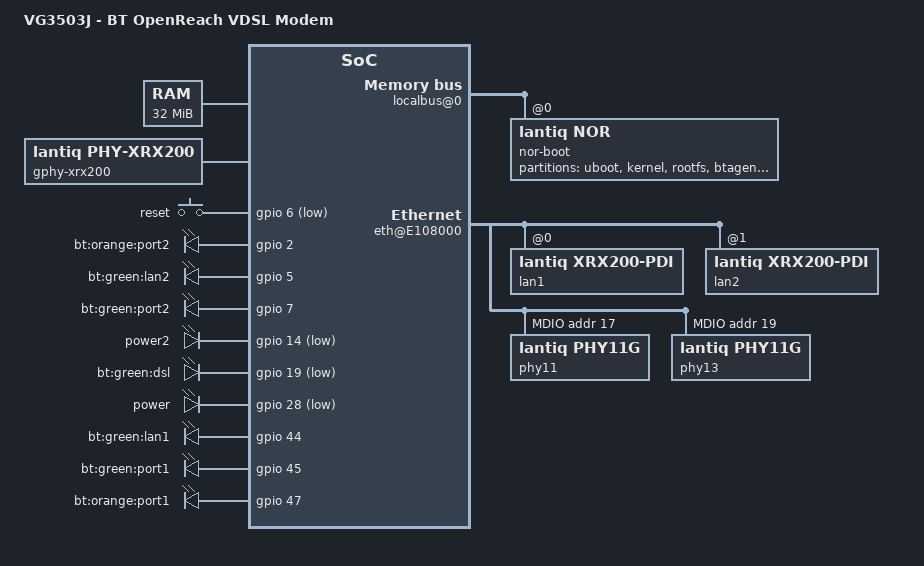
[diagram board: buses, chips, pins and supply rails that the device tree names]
/dts-v1/;

/include/ "vr9.dtsi"

/ {
	model = "VG3503J - BT OpenReach VDSL Modem";

	chosen {
		bootargs = "console=ttyLTQ0,115200 init=/etc/preinit";
	};

	memory@0 {
		reg = <0x0 0x2000000>;
	};

	fpi@10000000 {
		localbus@0 {
			ranges = <0 0 0x0 0x3ffffff>;
			nor-boot@0 {
				compatible = "lantiq,nor";
				bank-width = <2>;
				reg = <0 0x0 0x2000000>;
				#address-cells = <1>;
				#size-cells = <1>;

				partition@0 {
					label = "uboot";
					reg = <0x00000 0x20000>;
				};

				partition@20000 {
					label = "kernel";
					reg = <0x20000 0x180000>;
				};

				partition@1a0000 {
					label = "rootfs";
					reg = <0x1a0000 0x5a0000>;
				};

				partition@740000 {
					label = "btagent";
					reg = <0x740000 0x80000>;
				};

				partition@7c0000 {
					label = "pri_bfocus_cfg";
					reg = <0x7c0000 0x10000>;
				};

				partition@7d0000 {
					label = "sec_bfocus_cfg";
					reg = <0x7d0000 0x10000>;
				};

				partition@7e0000 {
					label = "sysconfig";
					reg = <0x7e0000 0x10000>;
				};

				partition@7f0000 {
					label = "misc_cfg";
					reg = <0x7f0000 0x10000>;
				};
			};
		};

		gpio: pinmux@E100B10 {
			pinctrl-names = "default";
			pinctrl-0 = <&state_default>;

			state_default: pinmux {
				mdio {
					lantiq,groups = "mdio";
					lantiq,function = "mdio";
				};
			};
		};

		eth@E108000 {
			#address-cells = <1>;
			#size-cells = <0>;
			compatible = "lantiq,xrx200-net";
			reg = <	0xE108000 0x3000 /* switch */
				0xE10B100 0x70 /* mdio */
				0xE10B1D8 0x30 /* mii */
				0xE10B308 0x30 /* pmac */
			>;
			interrupt-parent = <&icu0>;
			interrupts = <73 72>;

			lan1: interface@0 {
				compatible = "lantiq,xrx200-pdi";
				#address-cells = <1>;
				#size-cells = <0>;
				reg = <0>;
				mac-address = [ 00 11 22 33 44 55 ];
				lantiq,wan;
				ethernet@4 {
					compatible = "lantiq,xrx200-pdi-port";
					reg = <4>;
					phy-mode = "mii";
					phy-handle = <&phy13>;
				};
			};

			lan2: interface@1 {
				compatible = "lantiq,xrx200-pdi";
				#address-cells = <1>;
				#size-cells = <0>;
				reg = <1>;
				mac-address = [ 00 11 22 33 44 56 ];

				ethernet@2 {
					compatible = "lantiq,xrx200-pdi-port";
					reg = <2>;
					phy-mode = "mii";
					phy-handle = <&phy11>;
				};
			};

			mdio@0 {
				#address-cells = <1>;
				#size-cells = <0>;
				compatible = "lantiq,xrx200-mdio";
				phy11: ethernet-phy@11 {
					reg = <0x11>;
					compatible = "lantiq,phy11g", "ethernet-phy-ieee802.3-c22";
				};
				phy13: ethernet-phy@13 {
					reg = <0x13>;
					compatible = "lantiq,phy11g", "ethernet-phy-ieee802.3-c22";
				};
			};
		};
	};

	gphy-xrx200 {
		compatible = "lantiq,phy-xrx200";
		firmware = "lantiq/vr9_phy22f_a1x.bin";
		phys = [ 00 01 ];
	};

	gpio-keys-polled {
		compatible = "gpio-keys-polled";
		#address-cells = <1>;
		#size-cells = <0>;
		poll-interval = <100>;
		reset {
			label = "reset";
			gpios = <&gpio 6 1>;
			linux,code = <0x198>;
		};
	};

	gpio-leds {
		compatible = "gpio-leds";

		port2orange {
			label = "bt:orange:port2";
			gpios = <&gpio 2 0>;
		};
		lan2 {
			label = "bt:green:lan2";
			gpios = <&gpio 5 0>;
		};
		port2green {
			label = "bt:green:port2";
			gpios = <&gpio 7 0>;
		};
		power2 {
			label = "power2";
			gpios = <&gpio 14 1>;
		};
		dsl {
			label = "bt:green:dsl";
			gpios = <&gpio 19 1>;
		};
		power {
			label = "power";
			gpios = <&gpio 28 1>;
		};
		lan1 {
			label = "bt:green:lan1";
			gpios = <&gpio 44 0>;
		};
		port1green {
			label = "bt:green:port1";
			gpios = <&gpio 45 0>;
		};
		port1orange {
			label = "bt:orange:port1";
			gpios = <&gpio 47 0>;
		};
	};
};
